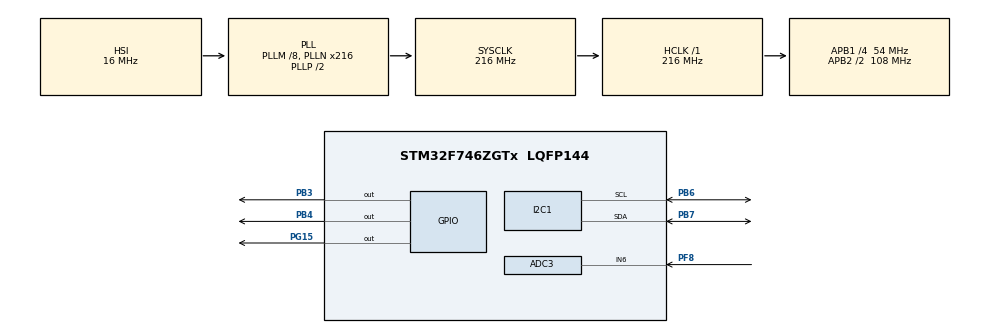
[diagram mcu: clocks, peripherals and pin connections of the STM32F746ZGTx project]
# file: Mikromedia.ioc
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ADC3.Channel-0\#ChannelRegularConversion=ADC_CHANNEL_6
ADC3.NbrOfConversionFlag=1
ADC3.Rank-0\#ChannelRegularConversion=1
ADC3.SamplingTime-0\#ChannelRegularConversion=ADC_SAMPLETIME_3CYCLES
FREERTOS.MEMORY_ALLOCATION=0
FREERTOS.Queues01=keyPressedQ,5,uint32_t,0,Dynamic,NULL,NULL
FREERTOS.Tasks01=defaultTask,0,1024,StartDefaultTask,Default,NULL,Dynamic,NULL,NULL;acctempTask,-1,256,AccTemp_init,Default,NULL,Dynamic,NULL,NULL;buttonTask,-3,512,ButtonTask_init,Default,NULL,Dynamic,NULL,NULL;tempRegTask,-2,128,TempRegTask_init,Default,NULL,Dynamic,NULL,NULL
FREERTOS.Timers01=periodicTimer,PTCallback,osTimerPeriodic,Default,NULL,Dynamic,NULL
FREERTOS.configMAX_PRIORITIES=8
FREERTOS.configUSE_TIMERS=1
I2C1.Timing=0x20404768
Mcu.Family=STM32F7
Mcu.Name=STM32F746ZGTx
Mcu.Package=LQFP144
NVIC.PriorityGroup=NVIC_PRIORITYGROUP_4
NVIC.TIM6_DAC_IRQn=true\:0\:0\:true\:false\:true\:false\:false\:true
NVIC.TimeBase=TIM6_DAC_IRQn
NVIC.TimeBaseIP=TIM6
PB3.Signal=GPIO_Output
PB4.Signal=GPIO_Output
PB6.GPIO_Pu=GPIO_PULLUP
PB6.Mode=I2C
PB6.Signal=I2C1_SCL
PB7.GPIO_Pu=GPIO_PULLUP
PB7.Mode=I2C
PB7.Signal=I2C1_SDA
PF8.Mode=IN6
PF8.Signal=ADC3_IN6
PG15.Signal=GPIO_Output
PH0/OSC_IN.Mode=HSE-External-Oscillator
PH0/OSC_IN.Signal=RCC_OSC_IN
PH1/OSC_OUT.Mode=HSE-External-Oscillator
PH1/OSC_OUT.Signal=RCC_OSC_OUT
ProjectManager.HeapSize=0x200
ProjectManager.StackSize=0x400
ProjectManager.TargetToolchain=STM32CubeIDE
RCC.AHBFreq_Value=216000000
RCC.APB1CLKDivider=RCC_HCLK_DIV4
RCC.APB1Freq_Value=54000000
RCC.APB1TimFreq_Value=108000000
RCC.APB2CLKDivider=RCC_HCLK_DIV2
RCC.APB2Freq_Value=108000000
RCC.APB2TimFreq_Value=216000000
RCC.CortexFreq_Value=216000000
RCC.HCLKFreq_Value=216000000
RCC.HSE_VALUE=25000000
RCC.HSI_VALUE=16000000
RCC.LSE_VALUE=32768
RCC.PLLM=8
RCC.PLLN=216
RCC.SYSCLKFreq_VALUE=216000000
RCC.SYSCLKSource=RCC_SYSCLKSOURCE_PLLCLK
RCC.USBFreq_Value=216000000
RCC.VCOOutputFreq_Value=432000000
VP_FREERTOS_VS_CMSIS_V1.Mode=CMSIS_V1
VP_SYS_VS_tim6.Mode=TIM6
board=custom

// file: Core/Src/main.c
/* USER CODE BEGIN Header */
/**
  ******************************************************************************
  * @file           : main.c
  * @brief          : Main program body
  ******************************************************************************
  * @attention
  *
  * <h2><center>&copy; Copyright (c) 2021 STMicroelectronics.
  * All rights reserved.</center></h2>
  *
  * This software component is licensed by ST under BSD 3-Clause license,
  * the "License"; You may not use this file except in compliance with the
  * License. You may obtain a copy of the License at:
  *                        opensource.org/licenses/BSD-3-Clause
  *
  ******************************************************************************
  */
/* USER CODE END Header */
#include "main.h"
#include "cmsis_os.h"

/* USER CODE BEGIN Includes */
#include "STMPE610.h"
#include "SSD1963.h"
#include "GUI.h"
#include "Windows/MenuDLG.h"
#include "Windows/accWin.h"
#include "Windows/tempWin.h"
#include "Windows/tempGraphWin.h"
#include "ADXL345.h"
#include "string.h"
#include "stdio.h"
/* USER CODE END Includes */

/* USER CODE BEGIN PD */
#define MAX_TEMP 26.5f
#define MIN_TEMP 25.0f
#define PERIOD_TAJMER 5000

/* USER CODE END PD */

ADC_HandleTypeDef hadc3;

I2C_HandleTypeDef hi2c1;

osThreadId defaultTaskHandle;
osThreadId acctempTaskHandle;
osThreadId buttonTaskHandle;
osThreadId tempRegTaskHandle;
osMessageQId keyPressedQHandle;
osTimerId periodicTimerHandle;
/* USER CODE BEGIN PV */
WM_HWIN hWin,hWinText,hWinList;
GRAPH_DATA_Handle hData;
GRAPH_DATA_Handle hData1;
GRAPH_DATA_Handle hData2;
GRAPH_SCALE_Handle hScale;

int state = 0;
uint32_t i=0,j=0;
uint16_t rawADC=0;

float temp=0.0;
uint8_t graph=0, ekran=0;

extern uint16_t x,y,z;
extern uint16_t accel_x, accel_y, accel_z;
/* USER CODE END PV */

void SystemClock_Config(void);
static void MX_GPIO_Init(void);
static void MX_I2C1_Init(void);
static void MX_ADC3_Init(void);
void StartDefaultTask(void const * argument);
void AccTemp_init(void const * argument);
void ButtonTask_init(void const * argument);
void TempRegTask_init(void const * argument);
void PTCallback(void const * argument);

/* USER CODE BEGIN PFP */
extern volatile GUI_TIMER_TIME OS_TimeMS;
//void HAL_SYSTICK_Callback(void)
//{
//	OS_TimeMS++;
//}

/* USER CODE END PFP */

int main(void)
{

  /* MCU Configuration--------------------------------------------------------*/

  /* Reset of all peripherals, Initializes the Flash interface and the Systick. */
  HAL_Init();

  /* Configure the system clock */
  SystemClock_Config();

  /* Initialize all configured peripherals */
  MX_GPIO_Init();
  MX_I2C1_Init();
  MX_ADC3_Init();
  /* USER CODE BEGIN 2 */
  Init_LCD_GPIO();
  Init_TOUCH_GPIO(hi2c1);
  Init_ACCEL_GPIO(hi2c1);
  ADXL345_Init();

  WM_SetCreateFlags(WM_CF_MEMDEV); // eliminise flickering

  GUI_Init();

   i=0;
  /* USER CODE END 2 */

  /* Create the timer(s) */
  /* definition and creation of periodicTimer */
  osTimerDef(periodicTimer, PTCallback);
  periodicTimerHandle = osTimerCreate(osTimer(periodicTimer), osTimerPeriodic, NULL);

  /* Create the queue(s) */
  /* definition and creation of keyPressedQ */
  osMessageQDef(keyPressedQ, 5, uint32_t);
  keyPressedQHandle = osMessageCreate(osMessageQ(keyPressedQ), NULL);

  /* Create the thread(s) */
  /* definition and creation of defaultTask */
  osThreadDef(defaultTask, StartDefaultTask, osPriorityNormal, 0, 1024);
  defaultTaskHandle = osThreadCreate(osThread(defaultTask), NULL);

  /* definition and creation of acctempTask */
  osThreadDef(acctempTask, AccTemp_init, osPriorityBelowNormal, 0, 512);
  acctempTaskHandle = osThreadCreate(osThread(acctempTask), NULL);

  /* definition and creation of buttonTask */
  osThreadDef(buttonTask, ButtonTask_init, osPriorityIdle, 0, 512);
  buttonTaskHandle = osThreadCreate(osThread(buttonTask), NULL);

  /* definition and creation of tempRegTask */
  osThreadDef(tempRegTask, TempRegTask_init, osPriorityLow, 0, 128);
  tempRegTaskHandle = osThreadCreate(osThread(tempRegTask), NULL);

  /* Start scheduler */
  osKernelStart();

  /* We should never get here as control is now taken by the scheduler */
  /* Infinite loop */
  while (1)
  {

  }
}

void SystemClock_Config(void)
{
  RCC_OscInitTypeDef RCC_OscInitStruct = {0};
  RCC_ClkInitTypeDef RCC_ClkInitStruct = {0};
  RCC_PeriphCLKInitTypeDef PeriphClkInitStruct = {0};

  /** Configure the main internal regulator output voltage
  */
  __HAL_RCC_PWR_CLK_ENABLE();
  __HAL_PWR_VOLTAGESCALING_CONFIG(PWR_REGULATOR_VOLTAGE_SCALE1);
  /** Initializes the RCC Oscillators according to the specified parameters
  * in the RCC_OscInitTypeDef structure.
  */
  RCC_OscInitStruct.OscillatorType = RCC_OSCILLATORTYPE_HSI;
  RCC_OscInitStruct.HSIState = RCC_HSI_ON;
  RCC_OscInitStruct.HSICalibrationValue = RCC_HSICALIBRATION_DEFAULT;
  RCC_OscInitStruct.PLL.PLLState = RCC_PLL_ON;
  RCC_OscInitStruct.PLL.PLLSource = RCC_PLLSOURCE_HSI;
  RCC_OscInitStruct.PLL.PLLM = 8;
  RCC_OscInitStruct.PLL.PLLN = 216;
  RCC_OscInitStruct.PLL.PLLP = RCC_PLLP_DIV2;
  RCC_OscInitStruct.PLL.PLLQ = 2;
  if (HAL_RCC_OscConfig(&RCC_OscInitStruct) != HAL_OK)
  {
    Error_Handler();
  }
  /** Activate the Over-Drive mode
  */
  if (HAL_PWREx_EnableOverDrive() != HAL_OK)
  {
    Error_Handler();
  }
  /** Initializes the CPU, AHB and APB buses clocks
  */
  RCC_ClkInitStruct.ClockType = RCC_CLOCKTYPE_HCLK|RCC_CLOCKTYPE_SYSCLK
                              |RCC_CLOCKTYPE_PCLK1|RCC_CLOCKTYPE_PCLK2;
  RCC_ClkInitStruct.SYSCLKSource = RCC_SYSCLKSOURCE_PLLCLK;
  RCC_ClkInitStruct.AHBCLKDivider = RCC_SYSCLK_DIV1;
  RCC_ClkInitStruct.APB1CLKDivider = RCC_HCLK_DIV4;
  RCC_ClkInitStruct.APB2CLKDivider = RCC_HCLK_DIV2;

  if (HAL_RCC_ClockConfig(&RCC_ClkInitStruct, FLASH_LATENCY_7) != HAL_OK)
  {
    Error_Handler();
  }
  PeriphClkInitStruct.PeriphClockSelection = RCC_PERIPHCLK_I2C1;
  PeriphClkInitStruct.I2c1ClockSelection = RCC_I2C1CLKSOURCE_PCLK1;
  if (HAL_RCCEx_PeriphCLKConfig(&PeriphClkInitStruct) != HAL_OK)
  {
    Error_Handler();
  }
}

static void MX_ADC3_Init(void)
{

  ADC_ChannelConfTypeDef sConfig = {0};

  /** Configure the global features of the ADC (Clock, Resolution, Data Alignment and number of conversion)
  */
  hadc3.Instance = ADC3;
  hadc3.Init.ClockPrescaler = ADC_CLOCK_SYNC_PCLK_DIV4;
  hadc3.Init.Resolution = ADC_RESOLUTION_12B;
  hadc3.Init.ScanConvMode = ADC_SCAN_DISABLE;
  hadc3.Init.ContinuousConvMode = DISABLE;
  hadc3.Init.DiscontinuousConvMode = DISABLE;
  hadc3.Init.ExternalTrigConvEdge = ADC_EXTERNALTRIGCONVEDGE_NONE;
  hadc3.Init.ExternalTrigConv = ADC_SOFTWARE_START;
  hadc3.Init.DataAlign = ADC_DATAALIGN_RIGHT;
  hadc3.Init.NbrOfConversion = 1;
  hadc3.Init.DMAContinuousRequests = DISABLE;
  hadc3.Init.EOCSelection = ADC_EOC_SINGLE_CONV;
  if (HAL_ADC_Init(&hadc3) != HAL_OK)
  {
    Error_Handler();
  }
  /** Configure for the selected ADC regular channel its corresponding rank in the sequencer and its sample time.
  */
  sConfig.Channel = ADC_CHANNEL_6;
  sConfig.Rank = ADC_REGULAR_RANK_1;
  sConfig.SamplingTime = ADC_SAMPLETIME_3CYCLES;
  if (HAL_ADC_ConfigChannel(&hadc3, &sConfig) != HAL_OK)
  {
    Error_Handler();
  }

}

static void MX_I2C1_Init(void)
{

  hi2c1.Instance = I2C1;
  hi2c1.Init.Timing = 0x20404768;
  hi2c1.Init.OwnAddress1 = 0;
  hi2c1.Init.AddressingMode = I2C_ADDRESSINGMODE_7BIT;
  hi2c1.Init.DualAddressMode = I2C_DUALADDRESS_DISABLE;
  hi2c1.Init.OwnAddress2 = 0;
  hi2c1.Init.OwnAddress2Masks = I2C_OA2_NOMASK;
  hi2c1.Init.GeneralCallMode = I2C_GENERALCALL_DISABLE;
  hi2c1.Init.NoStretchMode = I2C_NOSTRETCH_DISABLE;
  if (HAL_I2C_Init(&hi2c1) != HAL_OK)
  {
    Error_Handler();
  }
  /** Configure Analogue filter
  */
  if (HAL_I2CEx_ConfigAnalogFilter(&hi2c1, I2C_ANALOGFILTER_ENABLE) != HAL_OK)
  {
    Error_Handler();
  }
  /** Configure Digital filter
  */
  if (HAL_I2CEx_ConfigDigitalFilter(&hi2c1, 0) != HAL_OK)
  {
    Error_Handler();
  }

}

static void MX_GPIO_Init(void)
{
  GPIO_InitTypeDef GPIO_InitStruct = {0};

  /* GPIO Ports Clock Enable */
  __HAL_RCC_GPIOF_CLK_ENABLE();
  __HAL_RCC_GPIOH_CLK_ENABLE();
  __HAL_RCC_GPIOG_CLK_ENABLE();
  __HAL_RCC_GPIOB_CLK_ENABLE();

  /*Configure GPIO pin Output Level */
  HAL_GPIO_WritePin(GPIOG, GPIO_PIN_15, GPIO_PIN_RESET);

  /*Configure GPIO pin Output Level */
  HAL_GPIO_WritePin(GPIOB, GPIO_PIN_3|GPIO_PIN_4, GPIO_PIN_RESET);

  /*Configure GPIO pin : PG15 */
  GPIO_InitStruct.Pin = GPIO_PIN_15;
  GPIO_InitStruct.Mode = GPIO_MODE_OUTPUT_PP;
  GPIO_InitStruct.Pull = GPIO_NOPULL;
  GPIO_InitStruct.Speed = GPIO_SPEED_FREQ_LOW;
  HAL_GPIO_Init(GPIOG, &GPIO_InitStruct);

  /*Configure GPIO pins : PB3 PB4 */
  GPIO_InitStruct.Pin = GPIO_PIN_3|GPIO_PIN_4;
  GPIO_InitStruct.Mode = GPIO_MODE_OUTPUT_PP;
  GPIO_InitStruct.Pull = GPIO_NOPULL;
  GPIO_InitStruct.Speed = GPIO_SPEED_FREQ_LOW;
  HAL_GPIO_Init(GPIOB, &GPIO_InitStruct);

}

/* USER CODE BEGIN 4 */
void createMenuTemp()
{
	WM_DeleteWindow(hWin);
	hWin = CreateTempWin();

	hWinList = WM_GetDialogItem(hWin, ID_LISTTEMP);

	vTaskResume(acctempTaskHandle);

	state = ID_BTN_TEMP;
}

void menuTemp()
{
	char* temp_val;
	uint16_t  tempInt;
	uint8_t ostatak ;

	temp_val = pvPortMalloc(4*sizeof(char));

	float temp2;
	temp2=temp*10.0;

	tempInt = (uint16_t)temp2;
	ostatak = tempInt%10;
	tempInt = (uint16_t)(temp2/10.0);

	hWinList = WM_GetDialogItem(hWin, ID_LISTTEMP);
	sprintf((char*)temp_val, "%d.%d", tempInt,ostatak);

	LISTVIEW_SetItemText(hWinList, 0, 0,temp_val );

	vPortFree(temp_val);
}
void createMenuAccel()
{
	WM_DeleteWindow(hWin);
	hWin = CreateAccWin();

	hWinText = WM_GetDialogItem(hWin, ID_TEXT_ACC);
	hWinList = WM_GetDialogItem(hWin, ID_LISTACC);

	vTaskResume(acctempTaskHandle);

	state = ID_BTN_ACC;
}
void menuAccel()
{
	char* acc_x_val;
	char* acc_y_val;
	char* acc_z_val;

//	j = TEXT_SetText(hWinText, test_string);
	acc_x_val = pvPortMalloc(6*sizeof(char));
	acc_y_val = pvPortMalloc(6*sizeof(char));
	acc_z_val = pvPortMalloc(6*sizeof(char));

	hWinList = WM_GetDialogItem(hWin, ID_LISTACC);
	sprintf((char*)acc_x_val, "%d", accel_x);
	sprintf((char*)acc_y_val, "%d", accel_y);
	sprintf((char*)acc_z_val, "%d", accel_z);
	LISTVIEW_SetItemText(hWinList, 0, 0, acc_x_val);
	LISTVIEW_SetItemText(hWinList, 1, 0, acc_y_val);
	LISTVIEW_SetItemText(hWinList, 2, 0, acc_z_val);

	vPortFree(acc_x_val);
	vPortFree(acc_y_val);
	vPortFree(acc_z_val);
}
/* USER CODE END 4 */

void StartDefaultTask(void const * argument)
{
  /* USER CODE BEGIN 5 */
	GUI_Clear();

	GUI_SetFont(&GUI_Font20_1);
	GUI_SetColor(GUI_RED);
	hWin = CreateMenu();

	vTaskSuspend(tempRegTaskHandle);
	vTaskSuspend(acctempTaskHandle);

  /* Infinite loop */
	for (;;)
	{
		uint32_t btnPressed;

		STMPE610_read_xyz();
		GUI_TOUCH_Exec();
		btnPressed = GUI_GetKey();

		osMessagePut(keyPressedQHandle, (uint32_t)btnPressed, 50);

		GUI_Delay(10);
		osDelay(10);
	}
  /* USER CODE END 5 */
}

void AccTemp_init(void const * argument)
{
  /* USER CODE BEGIN AccTemp_init */
	vTaskResume(tempRegTaskHandle);
  /* Infinite loop */
  for(;;)
  {
	  	  uint16_t tempGraph;

	  	  ADXL345_read_xyz();

	  	  HAL_ADC_Start(&hadc3);
	  	  HAL_ADC_PollForConversion(&hadc3, HAL_MAX_DELAY);
	  	  rawADC=HAL_ADC_GetValue(&hadc3);
	  	  tempGraph = rawADC;
	  	  temp=(float)rawADC;
	  	  temp=100.0*((temp)/(2048)-0.5);
	  	  tempGraph=(uint16_t)(temp*50.0);
	  	  tempGraph=tempGraph-1100;

	  	  if (state == ID_BTN_TEMP) {
	  		  menuTemp();
	  	  }
	  	  else if(state == ID_BTN_TEMP_GRAPH)
	  	  {
	  		  GRAPH_DATA_YT_AddValue(hData, (uint16_t)((tempGraph)));
	  	  }
	  	  osDelay(200);
  }
  /* USER CODE END AccTemp_init */
}

void ButtonTask_init(void const * argument)
{
  /* USER CODE BEGIN ButtonTask_init */
	osEvent evt;
  /* Infinite loop */
  for(;;)
  {

	  evt = osMessageGet(keyPressedQHandle, 20);
	  uint32_t btnPressed;
	  btnPressed = (uint32_t)evt.value.p;
	  switch(btnPressed)
	  		{
				case ID_BTN_TEMP:
					createMenuTemp();

				break;
	  			case ID_BTN_TEMP_GRAPH:

	  				WM_DeleteWindow(hWin);
					state=ID_BTN_TEMP_GRAPH;
					hWin=CreateTempGraph();
					hData=GRAPH_DATA_YT_Create(GUI_BLUE, 700, 0,0);

					GRAPH_AttachData(WM_GetDialogItem(hWin, (ID_GRAPH_0)), hData);

					CHECKBOX_SetTextColor (WM_GetDialogItem(hWin, (ID_GRAPH_0)), GUI_RED);
					vTaskResume(acctempTaskHandle);
					GUI_Delay(100);

	  			break;
	  			case ID_BTN_ACC:
	  				createMenuAccel();
	  			break;
	  			case ID_BTN_AUTO:
	  				createMenuAccel();
	  				osTimerStart(periodicTimerHandle, PERIOD_TAJMER);
	  			break;
	  			case ID_BTN_NAZAD:
	  				GUI_Clear();
	  				WM_DeleteWindow(hWin);
	  				hWin = CreateMenu();
	  				vTaskSuspend(acctempTaskHandle);
	  				state = 0;

	  				osTimerStop(periodicTimerHandle);

	  			break;
	  			case ID_BTN_NAZAD_TEMP:
	  				GUI_Clear();
	  				WM_DeleteWindow(hWin);
	  				hWin = CreateMenu();
	  				vTaskSuspend(acctempTaskHandle);
	  				state = 0;

	  				osTimerStop(periodicTimerHandle);

	  			break;
	  			case ID_BTN_NAZAD_GRAPH:
					GUI_Clear();
					WM_DeleteWindow(hWin);
					hWin = CreateMenu();
					vTaskSuspend(acctempTaskHandle);
					state = 0;

				break;

	  	  	}
		if (state == ID_BTN_ACC)
		{
			menuAccel();
		}

    osDelay(10);
  }
  /* USER CODE END ButtonTask_init */
}

void TempRegTask_init(void const * argument)
{
  /* USER CODE BEGIN TempRegTask_init */
	uint8_t stanje=0;
  /* Infinite loop */
  for(;;)
  {

	  if(temp<=MIN_TEMP)
	  {
		  if(stanje==0){
			  HAL_GPIO_WritePin(GPIOG, GPIO_PIN_15,1); //pali se crveno svetlo diode
			  HAL_GPIO_WritePin(GPIOB, GPIO_PIN_4,0);
			  stanje=1;
		  }
	  }else if(temp>=MAX_TEMP)
	  {
		  if(stanje==0){
			  HAL_GPIO_WritePin(GPIOG, GPIO_PIN_15,0);
			  HAL_GPIO_WritePin(GPIOB, GPIO_PIN_4,1); //pali se plavo svetlo diode
			  stanje=1;
		  }
	  }else if (temp>=MIN_TEMP && temp<=MAX_TEMP)
	  {
		  if(stanje==1){
			  HAL_GPIO_WritePin(GPIOG, GPIO_PIN_15,0); //gasi se dioda
			  HAL_GPIO_WritePin(GPIOB, GPIO_PIN_4,0);
			  stanje=0;
		  }
	  }

    osDelay(200);
  }
  /* USER CODE END TempRegTask_init */
}

/* PTCallback function */
void PTCallback(void const * argument)
{
  /* USER CODE BEGIN PTCallback */
	if(ekran==0)
	{
		createMenuTemp();
		ekran=1;
	}else if(ekran==1)
	{
		createMenuAccel();
		ekran=0;
	}
  /* USER CODE END PTCallback */
}

void HAL_TIM_PeriodElapsedCallback(TIM_HandleTypeDef *htim)
{
  if (htim->Instance == TIM6) {
    HAL_IncTick();
  }
  /* USER CODE BEGIN Callback 1 */
  if (htim->Instance == TIM6) {
     OS_TimeMS++;
   }
  /* USER CODE END Callback 1 */
}

void Error_Handler(void)
{
  __disable_irq();
  while (1)
  {
  }
}

/************************ (C) COPYRIGHT STMicroelectronics *****END OF FILE****/
